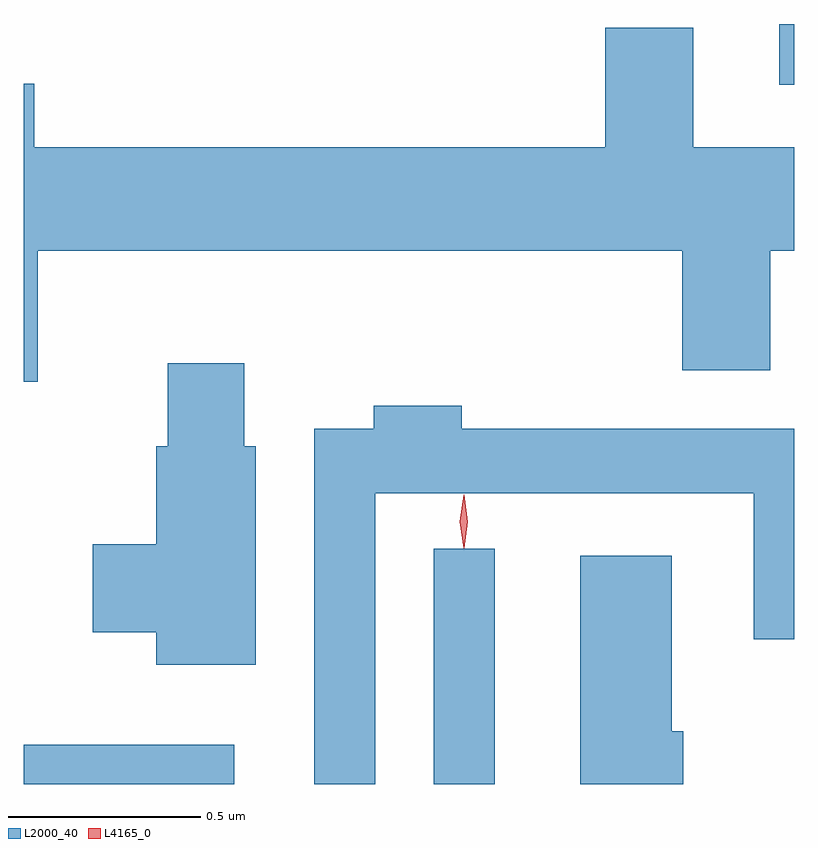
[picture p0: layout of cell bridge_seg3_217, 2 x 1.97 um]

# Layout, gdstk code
import gdstk
lib = gdstk.Library(unit=1e-6, precision=1e-09)
def R(c, l, rs):  # rectangles x0, y0, x1, y1
    for r in rs: c.add(gdstk.rectangle(r[:2], r[2:], *l))
def P(c, l, *ps):  # polygons
    for p in ps: c.add(gdstk.Polygon(p, *l))
L2000_40 = (2000, 40)
L4165_0 = (4165, 0)

bridge_seg3_217 = lib.new_cell('bridge_seg3_217')
R(bridge_seg3_217, L2000_40, [(920.142,1169.032,920.689,1169.134), (921.206,1169.032,921.364,1169.643), (922.103,1170.846,922.142,1171.004)])
P(bridge_seg3_217, L2000_40, [(920.179,1170.416),(921.851,1170.416),(921.851,1170.106),(922.079,1170.106),(922.079,1170.416),(922.142,1170.416),(922.142,1170.684),(921.879,1170.684),(921.879,1170.994),(921.651,1170.994),(921.651,1170.684),(920.169,1170.684),(920.169,1170.849),(920.142,1170.849),(920.142,1170.076),(920.179,1170.076)],
  [(920.744,1169.909),(920.714,1169.909),(920.714,1170.124),(920.516,1170.124),(920.516,1169.909),(920.486,1169.909),(920.486,1169.654),(920.321,1169.654),(920.321,1169.426),(920.486,1169.426),(920.486,1169.341),(920.744,1169.341)],
  [(921.054,1169.786),(922.036,1169.786),(922.036,1169.408),(922.142,1169.408),(922.142,1169.954),(921.279,1169.954),(921.279,1170.014),(921.051,1170.014),(921.051,1169.954),(920.896,1169.954),(920.896,1169.032),(921.054,1169.032)],
  [(921.854,1169.169),(921.824,1169.169),(921.824,1169.624),(921.586,1169.624),(921.586,1169.032),(921.854,1169.032)])
P(bridge_seg3_217, L4165_0, [(921.284,1169.644),(921.284,1169.644),(921.274,1169.713),(921.284,1169.782),(921.284,1169.783),(921.285,1169.782),(921.294,1169.713),(921.285,1169.644)])

lib.write_gds('bridge_seg3_217.gds')
